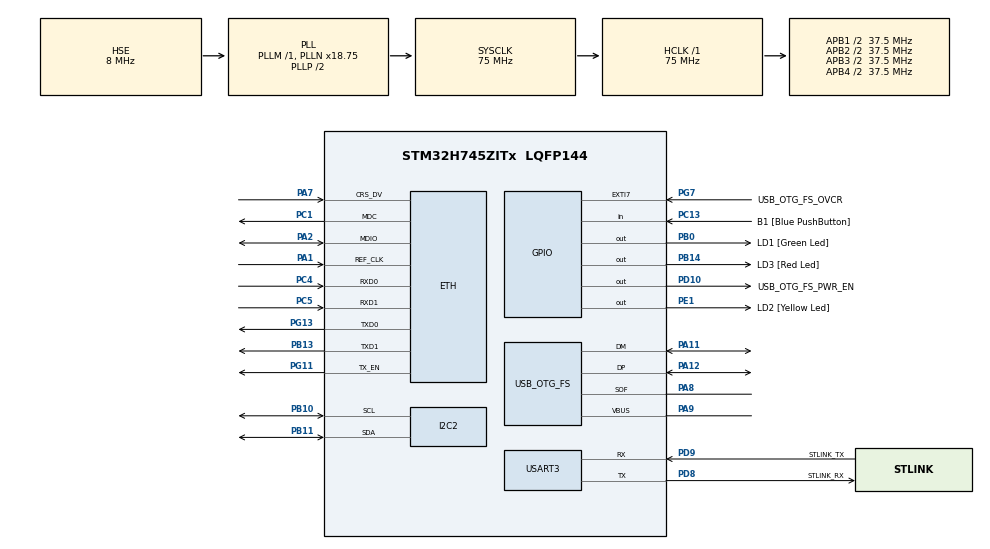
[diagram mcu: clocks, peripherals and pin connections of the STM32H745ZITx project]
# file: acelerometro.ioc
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CortexM4.IPs=FATFS_M4\:I,FREERTOS_M4\:I,IWDG2\:I,RCC,WWDG2\:I,DMA,BDMA,MDMA,NVIC2\:I,USART3,ETH,DEBUG,USB_DEVICE_M4\:I,USB_HOST_M4\:I,PDM2PCM_M4\:I,PWR,RESMGR_UTILITY,SYS_M4\:I,CORTEX_M4\:I,OPENAMP_M4\:I,VREFBUF,GPIO
CortexM7.IPs=FATFS_M7\:I,FREERTOS_M7\:I,IWDG1\:I,RCC\:I,WWDG1\:I,DMA\:I,BDMA\:I,MDMA\:I,NVIC1\:I,SYS\:I,USART3\:I,USB_OTG_FS\:I,ETH\:I,CORTEX_M7\:I,DEBUG\:I,USB_DEVICE_M7\:I,USB_HOST_M7\:I,PDM2PCM_M7\:I,PWR\:I,RESMGR_UTILITY\:I,OPENAMP_M7\:I,VREFBUF\:I,GPIO\:I,I2C2\:I,TIM14\:I
ETH.MediaInterface=HAL_ETH_RMII_MODE
FREERTOS_M7.Tasks01=defaultTask,24,128,StartDefaultTask,Default,NULL,Dynamic,NULL,NULL;accTask,24,128,accStartTask,Default,NULL,Dynamic,NULL,NULL
FREERTOS_M7.configUSE_NEWLIB_REENTRANT=1
I2C2.Timing=0x00909FCE
Mcu.Family=STM32H7
Mcu.Name=STM32H745ZITx
Mcu.Package=LQFP144
NVIC1.PriorityGroup=NVIC_PRIORITYGROUP_4
NVIC1.TIM8_TRG_COM_TIM14_IRQn=true\:15\:0\:false\:false\:true\:false\:false\:true\:true
NVIC1.TimeBase=TIM8_TRG_COM_TIM14_IRQn
NVIC1.TimeBaseIP=TIM14
NVIC2.PriorityGroup=NVIC_PRIORITYGROUP_4
PA1.Mode=RMII
PA1.PinAttribute=CortexM7
PA1.Signal=ETH_REF_CLK
PA11.Mode=Device_Only
PA11.PinAttribute=CortexM7
PA11.Signal=USB_OTG_FS_DM
PA12.Mode=Device_Only
PA12.PinAttribute=CortexM7
PA12.Signal=USB_OTG_FS_DP
PA2.Mode=RMII
PA2.PinAttribute=CortexM7
PA2.Signal=ETH_MDIO
PA7.Mode=RMII
PA7.PinAttribute=CortexM7
PA7.Signal=ETH_CRS_DV
PA8.Mode=Activate_SOF_FS
PA8.PinAttribute=CortexM7
PA8.Signal=USB_OTG_FS_SOF
PA9.Mode=Activate_VBUS
PA9.PinAttribute=CortexM7
PA9.Signal=USB_OTG_FS_VBUS
PB0.GPIO_Label=LD1 [Green Led]
PB0.PinAttribute=Free
PB0.Signal=GPIO_Output
PB10.Mode=I2C
PB10.PinAttribute=CortexM7
PB10.Signal=I2C2_SCL
PB11.Mode=I2C
PB11.PinAttribute=CortexM7
PB11.Signal=I2C2_SDA
PB13.Mode=RMII
PB13.PinAttribute=CortexM7
PB13.Signal=ETH_TXD1
PB14.GPIO_Label=LD3 [Red Led]
PB14.PinAttribute=Free
PB14.Signal=GPIO_Output
PC1.Mode=RMII
PC1.PinAttribute=CortexM7
PC1.Signal=ETH_MDC
PC13.GPIO_Label=B1 [Blue PushButton]
PC13.PinAttribute=Free
PC13.Signal=GPIO_Input
PC14-OSC32_IN\ (OSC32_IN).Mode=LSE-External-Oscillator
PC14-OSC32_IN\ (OSC32_IN).PinAttribute=CortexM7
PC14-OSC32_IN\ (OSC32_IN).Signal=RCC_OSC32_IN
PC15-OSC32_OUT\ (OSC32_OUT).Mode=LSE-External-Oscillator
PC15-OSC32_OUT\ (OSC32_OUT).PinAttribute=CortexM7
PC15-OSC32_OUT\ (OSC32_OUT).Signal=RCC_OSC32_OUT
PC4.Mode=RMII
PC4.PinAttribute=CortexM7
PC4.Signal=ETH_RXD0
PC5.Mode=RMII
PC5.PinAttribute=CortexM7
PC5.Signal=ETH_RXD1
PD10.GPIO_Label=USB_OTG_FS_PWR_EN
PD10.PinAttribute=Free
PD10.Signal=GPIO_Output
PD8.GPIO_Label=STLINK_RX
PD8.Mode=Asynchronous
PD8.PinAttribute=CortexM7
PD8.Signal=USART3_TX
PD9.GPIO_Label=STLINK_TX
PD9.Mode=Asynchronous
PD9.PinAttribute=CortexM7
PD9.Signal=USART3_RX
PE1.GPIO_Label=LD2 [Yellow Led]
PE1.PinAttribute=Free
PE1.Signal=GPIO_Output
PG11.Mode=RMII
PG11.PinAttribute=CortexM7
PG11.Signal=ETH_TX_EN
PG13.Mode=RMII
PG13.PinAttribute=CortexM7
PG13.Signal=ETH_TXD0
PG7.GPIO_Label=USB_OTG_FS_OVCR
PG7.PinAttribute=Free
PG7.Signal=GPXTI7
PH0-OSC_IN\ (PH0).Mode=HSE-External-Clock-Source
PH0-OSC_IN\ (PH0).PinAttribute=CortexM7
PH0-OSC_IN\ (PH0).Signal=RCC_OSC_IN
PH1-OSC_OUT\ (PH1).PinAttribute=CortexM7
PH1-OSC_OUT\ (PH1).Signal=RCC_OSC_OUT
ProjectManager.HeapSize=M4-0x200,M7-0x200
ProjectManager.StackSize=M4-0x400,M7-0x400
ProjectManager.TargetToolchain=STM32CubeIDE
RCC.ADCFreq_Value=16125000
RCC.APB1Freq_Value=37500000
RCC.APB2Freq_Value=37500000
RCC.APB3Freq_Value=37500000
RCC.APB4Freq_Value=37500000
RCC.CortexFreq_Value=75000000
RCC.D1PPRE=RCC_APB3_DIV2
RCC.D2PPRE1=RCC_APB1_DIV2
RCC.D2PPRE2=RCC_APB2_DIV2
RCC.D3PPRE=RCC_APB4_DIV2
RCC.DIVM1=1
RCC.DIVM3=1
RCC.DIVN1=18
RCC.DIVN3=18
RCC.DIVQ3=3
RCC.HCLKFreq_Value=75000000
RCC.HSE_VALUE=8000000
RCC.PLL2FRACN=0
RCC.PLL3FRACN=6144
RCC.PLLFRACN=6144
RCC.SYSCLKFreq_VALUE=75000000
RCC.SYSCLKSource=RCC_SYSCLKSOURCE_PLLCLK
RCC.SupplySource=PWR_DIRECT_SMPS_SUPPLY
RCC.USBCLockSelection=RCC_USBCLKSOURCE_PLL3
RCC.USBFreq_Value=50000000
USART3.VirtualMode-Asynchronous=VM_ASYNC
USB_OTG_FS.VirtualMode=Device_Only
VP_FREERTOS_M7_VS_CMSIS_V2.Mode=CMSIS_V2
VP_SYS_M4_VS_Systick.Mode=SysTick
VP_SYS_VS_tim14.Mode=TIM14
board=NUCLEO-H745ZI-Q

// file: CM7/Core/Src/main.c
/* USER CODE BEGIN Header */
/**
  ******************************************************************************
  * @file           : main.c
  * @brief          : Main program body
  ******************************************************************************
  * @attention
  *
  * Copyright (c) 2023 STMicroelectronics.
  * All rights reserved.
  *
  * This software is licensed under terms that can be found in the LICENSE file
  * in the root directory of this software component.
  * If no LICENSE file comes with this software, it is provided AS-IS.
  *
  ******************************************************************************
  */
/* USER CODE END Header */
#include "main.h"
#include "string.h"
#include "cmsis_os.h"

/* USER CODE BEGIN Includes */
#include <stdio.h>
/* USER CODE END Includes */

/* USER CODE BEGIN PD */

#ifndef HSEM_ID_0
#define HSEM_ID_0 (0U) /* HW semaphore 0*/
#endif

/* USER CODE END PD */

#if defined ( __ICCARM__ ) /*!< IAR Compiler */
#pragma location=0x30000000
ETH_DMADescTypeDef  DMARxDscrTab[ETH_RX_DESC_CNT]; /* Ethernet Rx DMA Descriptors */
#pragma location=0x30000200
ETH_DMADescTypeDef  DMATxDscrTab[ETH_TX_DESC_CNT]; /* Ethernet Tx DMA Descriptors */

#elif defined ( __CC_ARM )  /* MDK ARM Compiler */

__attribute__((at(0x30000000))) ETH_DMADescTypeDef  DMARxDscrTab[ETH_RX_DESC_CNT]; /* Ethernet Rx DMA Descriptors */
__attribute__((at(0x30000200))) ETH_DMADescTypeDef  DMATxDscrTab[ETH_TX_DESC_CNT]; /* Ethernet Tx DMA Descriptors */

#elif defined ( __GNUC__ ) /* GNU Compiler */
ETH_DMADescTypeDef DMARxDscrTab[ETH_RX_DESC_CNT] __attribute__((section(".RxDecripSection"))); /* Ethernet Rx DMA Descriptors */
ETH_DMADescTypeDef DMATxDscrTab[ETH_TX_DESC_CNT] __attribute__((section(".TxDecripSection")));   /* Ethernet Tx DMA Descriptors */

#endif

ETH_TxPacketConfig TxConfig;

ETH_HandleTypeDef heth;

I2C_HandleTypeDef hi2c2;

UART_HandleTypeDef huart3;

PCD_HandleTypeDef hpcd_USB_OTG_FS;

/* Definitions for defaultTask */
osThreadId_t defaultTaskHandle;
const osThreadAttr_t defaultTask_attributes = {
  .name = "defaultTask",
  .stack_size = 128 * 4,
  .priority = (osPriority_t) osPriorityNormal,
};
/* Definitions for accTask */
osThreadId_t accTaskHandle;
const osThreadAttr_t accTask_attributes = {
  .name = "accTask",
  .stack_size = 256 * 4,
  .priority = (osPriority_t) osPriorityNormal,
};
/* USER CODE BEGIN PV */
float Accel_X_RAW, Accel_Y_RAW, Accel_Z_RAW;
float Ax, Ay, Az;
/* USER CODE END PV */

void SystemClock_Config(void);
static void MX_GPIO_Init(void);
static void MX_ETH_Init(void);
static void MX_USART3_UART_Init(void);
static void MX_USB_OTG_FS_PCD_Init(void);
static void MX_I2C2_Init(void);
void StartDefaultTask(void *argument);
void accStartTask(void *argument);

/* USER CODE BEGIN PFP */
#define MPU6050_ADDR 0xD0

#define SMPLRT_DIV_REG 0x19
#define ACCEL_CONFIG_REG 0x1C
#define ACCEL_XOUT_H_REG 0x3B
#define TEMP_OUT_H_REG 0x41
#define PWR_MGMT_1_REG 0x6B
#define WHO_AM_I_REG 0x75
/* USER CODE END PFP */

/* USER CODE BEGIN 0 */
void MPU6050_Init (void){
	uint8_t check, Data;
	HAL_I2C_Mem_Read(&hi2c2, MPU6050_ADDR,WHO_AM_I_REG,1, &check, 1, 1000);
	if(check==104){ //if device is present
		// power management register 0X6B we should write all 0's to wake the sensor up
		Data=0;
		HAL_I2C_Mem_Write(&hi2c2, MPU6050_ADDR, PWR_MGMT_1_REG, 1,&Data, 1, 1000);

		// Set DATA RATE of 1KHz by writing SMPLRT_DIV register
		Data = 0x07;
		HAL_I2C_Mem_Write(&hi2c2, MPU6050_ADDR, SMPLRT_DIV_REG, 1, &Data, 1, 1000);
	}

}

/* USER CODE END 0 */

int main(void)
{
/* USER CODE BEGIN Boot_Mode_Sequence_0 */
  int32_t timeout;
/* USER CODE END Boot_Mode_Sequence_0 */

/* USER CODE BEGIN Boot_Mode_Sequence_1 */
  /* Wait until CPU2 boots and enters in stop mode or timeout*/
  timeout = 0xFFFF;
  while((__HAL_RCC_GET_FLAG(RCC_FLAG_D2CKRDY) != RESET) && (timeout-- > 0));
  if ( timeout < 0 )
  {
  Error_Handler();
  }
/* USER CODE END Boot_Mode_Sequence_1 */
  /* MCU Configuration--------------------------------------------------------*/

  /* Reset of all peripherals, Initializes the Flash interface and the Systick. */
  HAL_Init();

  /* Configure the system clock */
  SystemClock_Config();
/* USER CODE BEGIN Boot_Mode_Sequence_2 */
/* When system initialization is finished, Cortex-M7 will release Cortex-M4 by means of
HSEM notification */
/*HW semaphore Clock enable*/
__HAL_RCC_HSEM_CLK_ENABLE();
/*Take HSEM */
HAL_HSEM_FastTake(HSEM_ID_0);
/*Release HSEM in order to notify the CPU2(CM4)*/
HAL_HSEM_Release(HSEM_ID_0,0);
/* wait until CPU2 wakes up from stop mode */
timeout = 0xFFFF;
while((__HAL_RCC_GET_FLAG(RCC_FLAG_D2CKRDY) == RESET) && (timeout-- > 0));
if ( timeout < 0 )
{
Error_Handler();
}
/* USER CODE END Boot_Mode_Sequence_2 */

  /* Initialize all configured peripherals */
  MX_GPIO_Init();
  MX_ETH_Init();
  MX_USART3_UART_Init();
  MX_USB_OTG_FS_PCD_Init();
  MX_I2C2_Init();
  /* USER CODE BEGIN 2 */
  MPU6050_Init();
  /* USER CODE END 2 */

  /* Init scheduler */
  osKernelInitialize();

  /* Create the thread(s) */
  /* creation of defaultTask */
  defaultTaskHandle = osThreadNew(StartDefaultTask, NULL, &defaultTask_attributes);

  /* creation of accTask */
  accTaskHandle = osThreadNew(accStartTask, NULL, &accTask_attributes);

  /* Start scheduler */
  osKernelStart();

  /* We should never get here as control is now taken by the scheduler */
  /* Infinite loop */
  while (1)
  {

  }
}

void SystemClock_Config(void)
{
  RCC_OscInitTypeDef RCC_OscInitStruct = {0};
  RCC_ClkInitTypeDef RCC_ClkInitStruct = {0};

  /** Supply configuration update enable
  */
  HAL_PWREx_ConfigSupply(PWR_DIRECT_SMPS_SUPPLY);

  /** Configure the main internal regulator output voltage
  */
  __HAL_PWR_VOLTAGESCALING_CONFIG(PWR_REGULATOR_VOLTAGE_SCALE3);

  while(!__HAL_PWR_GET_FLAG(PWR_FLAG_VOSRDY)) {}

  /** Initializes the RCC Oscillators according to the specified parameters
  * in the RCC_OscInitTypeDef structure.
  */
  RCC_OscInitStruct.OscillatorType = RCC_OSCILLATORTYPE_HSE;
  RCC_OscInitStruct.HSEState = RCC_HSE_BYPASS;
  RCC_OscInitStruct.PLL.PLLState = RCC_PLL_ON;
  RCC_OscInitStruct.PLL.PLLSource = RCC_PLLSOURCE_HSE;
  RCC_OscInitStruct.PLL.PLLM = 1;
  RCC_OscInitStruct.PLL.PLLN = 18;
  RCC_OscInitStruct.PLL.PLLP = 2;
  RCC_OscInitStruct.PLL.PLLQ = 2;
  RCC_OscInitStruct.PLL.PLLR = 2;
  RCC_OscInitStruct.PLL.PLLRGE = RCC_PLL1VCIRANGE_3;
  RCC_OscInitStruct.PLL.PLLVCOSEL = RCC_PLL1VCOMEDIUM;
  RCC_OscInitStruct.PLL.PLLFRACN = 6144;
  if (HAL_RCC_OscConfig(&RCC_OscInitStruct) != HAL_OK)
  {
    Error_Handler();
  }

  /** Initializes the CPU, AHB and APB buses clocks
  */
  RCC_ClkInitStruct.ClockType = RCC_CLOCKTYPE_HCLK|RCC_CLOCKTYPE_SYSCLK
                              |RCC_CLOCKTYPE_PCLK1|RCC_CLOCKTYPE_PCLK2
                              |RCC_CLOCKTYPE_D3PCLK1|RCC_CLOCKTYPE_D1PCLK1;
  RCC_ClkInitStruct.SYSCLKSource = RCC_SYSCLKSOURCE_PLLCLK;
  RCC_ClkInitStruct.SYSCLKDivider = RCC_SYSCLK_DIV1;
  RCC_ClkInitStruct.AHBCLKDivider = RCC_HCLK_DIV1;
  RCC_ClkInitStruct.APB3CLKDivider = RCC_APB3_DIV2;
  RCC_ClkInitStruct.APB1CLKDivider = RCC_APB1_DIV2;
  RCC_ClkInitStruct.APB2CLKDivider = RCC_APB2_DIV2;
  RCC_ClkInitStruct.APB4CLKDivider = RCC_APB4_DIV2;

  if (HAL_RCC_ClockConfig(&RCC_ClkInitStruct, FLASH_LATENCY_1) != HAL_OK)
  {
    Error_Handler();
  }
}

static void MX_ETH_Init(void)
{

   static uint8_t MACAddr[6];

  heth.Instance = ETH;
  MACAddr[0] = 0x00;
  MACAddr[1] = 0x80;
  MACAddr[2] = 0xE1;
  MACAddr[3] = 0x00;
  MACAddr[4] = 0x00;
  MACAddr[5] = 0x00;
  heth.Init.MACAddr = &MACAddr[0];
  heth.Init.MediaInterface = HAL_ETH_RMII_MODE;
  heth.Init.TxDesc = DMATxDscrTab;
  heth.Init.RxDesc = DMARxDscrTab;
  heth.Init.RxBuffLen = 1524;

  if (HAL_ETH_Init(&heth) != HAL_OK)
  {
    Error_Handler();
  }

  memset(&TxConfig, 0 , sizeof(ETH_TxPacketConfig));
  TxConfig.Attributes = ETH_TX_PACKETS_FEATURES_CSUM | ETH_TX_PACKETS_FEATURES_CRCPAD;
  TxConfig.ChecksumCtrl = ETH_CHECKSUM_IPHDR_PAYLOAD_INSERT_PHDR_CALC;
  TxConfig.CRCPadCtrl = ETH_CRC_PAD_INSERT;

}

static void MX_I2C2_Init(void)
{

  hi2c2.Instance = I2C2;
  hi2c2.Init.Timing = 0x00909FCE;
  hi2c2.Init.OwnAddress1 = 0;
  hi2c2.Init.AddressingMode = I2C_ADDRESSINGMODE_7BIT;
  hi2c2.Init.DualAddressMode = I2C_DUALADDRESS_DISABLE;
  hi2c2.Init.OwnAddress2 = 0;
  hi2c2.Init.OwnAddress2Masks = I2C_OA2_NOMASK;
  hi2c2.Init.GeneralCallMode = I2C_GENERALCALL_DISABLE;
  hi2c2.Init.NoStretchMode = I2C_NOSTRETCH_DISABLE;
  if (HAL_I2C_Init(&hi2c2) != HAL_OK)
  {
    Error_Handler();
  }

  /** Configure Analogue filter
  */
  if (HAL_I2CEx_ConfigAnalogFilter(&hi2c2, I2C_ANALOGFILTER_ENABLE) != HAL_OK)
  {
    Error_Handler();
  }

  /** Configure Digital filter
  */
  if (HAL_I2CEx_ConfigDigitalFilter(&hi2c2, 0) != HAL_OK)
  {
    Error_Handler();
  }

}

static void MX_USART3_UART_Init(void)
{

  huart3.Instance = USART3;
  huart3.Init.BaudRate = 115200;
  huart3.Init.WordLength = UART_WORDLENGTH_8B;
  huart3.Init.StopBits = UART_STOPBITS_1;
  huart3.Init.Parity = UART_PARITY_NONE;
  huart3.Init.Mode = UART_MODE_TX_RX;
  huart3.Init.HwFlowCtl = UART_HWCONTROL_NONE;
  huart3.Init.OverSampling = UART_OVERSAMPLING_16;
  huart3.Init.OneBitSampling = UART_ONE_BIT_SAMPLE_DISABLE;
  huart3.Init.ClockPrescaler = UART_PRESCALER_DIV1;
  huart3.AdvancedInit.AdvFeatureInit = UART_ADVFEATURE_NO_INIT;
  if (HAL_UART_Init(&huart3) != HAL_OK)
  {
    Error_Handler();
  }
  if (HAL_UARTEx_SetTxFifoThreshold(&huart3, UART_TXFIFO_THRESHOLD_1_8) != HAL_OK)
  {
    Error_Handler();
  }
  if (HAL_UARTEx_SetRxFifoThreshold(&huart3, UART_RXFIFO_THRESHOLD_1_8) != HAL_OK)
  {
    Error_Handler();
  }
  if (HAL_UARTEx_DisableFifoMode(&huart3) != HAL_OK)
  {
    Error_Handler();
  }

}

static void MX_USB_OTG_FS_PCD_Init(void)
{

  hpcd_USB_OTG_FS.Instance = USB_OTG_FS;
  hpcd_USB_OTG_FS.Init.dev_endpoints = 9;
  hpcd_USB_OTG_FS.Init.speed = PCD_SPEED_FULL;
  hpcd_USB_OTG_FS.Init.dma_enable = DISABLE;
  hpcd_USB_OTG_FS.Init.phy_itface = PCD_PHY_EMBEDDED;
  hpcd_USB_OTG_FS.Init.Sof_enable = DISABLE;
  hpcd_USB_OTG_FS.Init.low_power_enable = DISABLE;
  hpcd_USB_OTG_FS.Init.lpm_enable = DISABLE;
  hpcd_USB_OTG_FS.Init.battery_charging_enable = ENABLE;
  hpcd_USB_OTG_FS.Init.vbus_sensing_enable = ENABLE;
  hpcd_USB_OTG_FS.Init.use_dedicated_ep1 = DISABLE;
  if (HAL_PCD_Init(&hpcd_USB_OTG_FS) != HAL_OK)
  {
    Error_Handler();
  }

}

static void MX_GPIO_Init(void)
{

  /* GPIO Ports Clock Enable */
  __HAL_RCC_GPIOC_CLK_ENABLE();
  __HAL_RCC_GPIOH_CLK_ENABLE();
  __HAL_RCC_GPIOA_CLK_ENABLE();
  __HAL_RCC_GPIOB_CLK_ENABLE();
  __HAL_RCC_GPIOD_CLK_ENABLE();
  __HAL_RCC_GPIOG_CLK_ENABLE();

}

void StartDefaultTask(void *argument)
{
  for(;;)
  {
    osDelay(1);
  }
}

void accStartTask(void *argument)
{
  /* USER CODE BEGIN accStartTask */
	char msg [50];

  /* Infinite loop */
  for(;;)
  {
    osDelay(100);
    uint8_t Rec_Data[6];

    	// Read 6 BYTES of data starting from ACCEL_XOUT_H register
    	HAL_I2C_Mem_Read(&hi2c2, MPU6050_ADDR, ACCEL_XOUT_H_REG, 1, Rec_Data, 6, 1000);
    	Accel_X_RAW = (int16_t)(Rec_Data[0] << 8 | Rec_Data [1]);
    	Accel_Y_RAW = (int16_t)(Rec_Data[2] << 8 | Rec_Data [3]);
    	Accel_Z_RAW = (int16_t)(Rec_Data[4] << 8 | Rec_Data [5]);

    	/*** convert the RAW values into acceleration in 'g'
    	     we have to divide according to the Full scale value set in FS_SEL
    	     I have configured FS_SEL = 0. So I am dividing by 16384.0
    	     for more details check ACCEL_CONFIG Register              ****/

    	Ax = Accel_X_RAW/16384.0;  // get the float g
    	Ay = Accel_Y_RAW/16384.0;
    	Az = Accel_Z_RAW/16384.0;

        snprintf(msg, sizeof(msg), "Ace: X=%.2f, Y=%.2f, Z=%.2f \r\n", Ax, Ay, Az);
        HAL_UART_Transmit(&huart3, (uint8_t*)msg, strlen(msg), 10);
    }

  /* USER CODE END accStartTask */
}

void HAL_TIM_PeriodElapsedCallback(TIM_HandleTypeDef *htim)
{
  if (htim->Instance == TIM14) {
    HAL_IncTick();
  }
}

void Error_Handler(void)
{
  __disable_irq();
  while (1)
  {
  }
}
